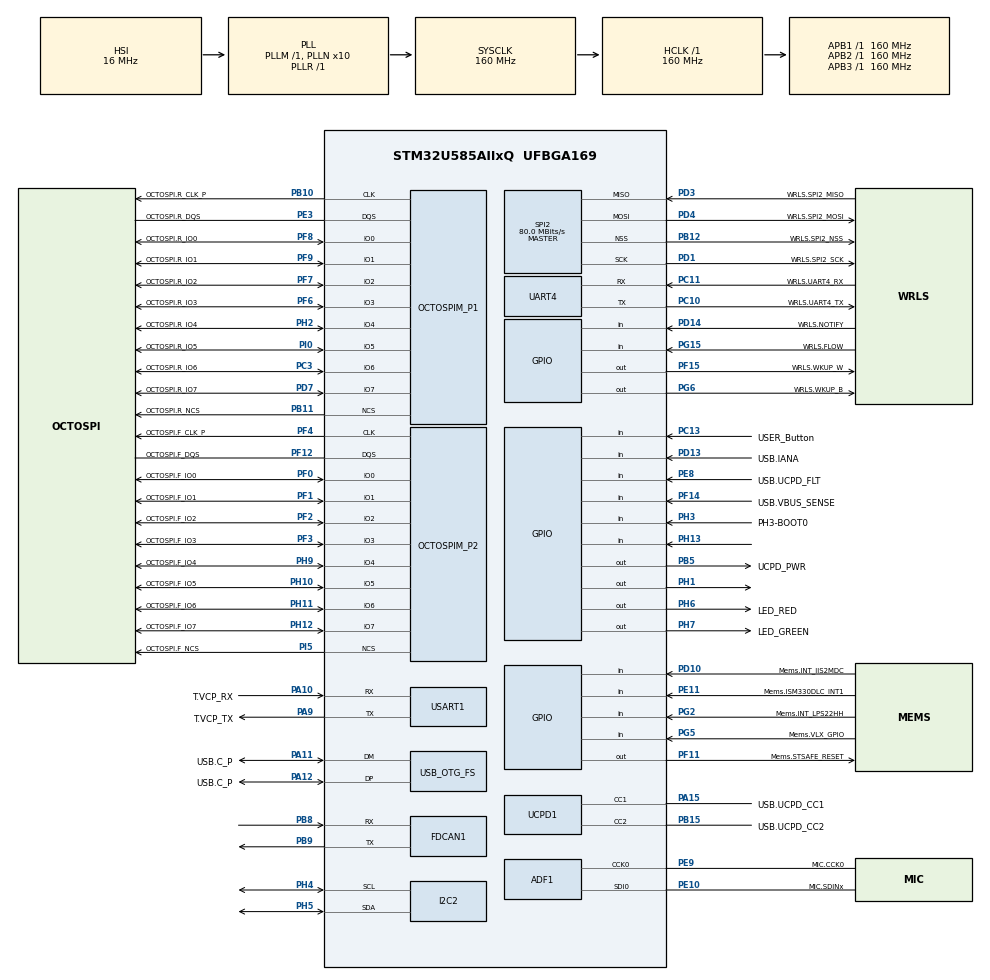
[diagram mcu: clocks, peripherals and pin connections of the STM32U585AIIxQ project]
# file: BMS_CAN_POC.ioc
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CORTEX_M33_NS.userName=CORTEX_M33
FDCAN1.AutoRetransmission=ENABLE
FDCAN1.CalculateBaudRateNominal=500000
FDCAN1.CalculateTimeBitNominal=2000
FDCAN1.CalculateTimeQuantumNominal=12.5
FDCAN1.FrameFormat=FDCAN_FRAME_CLASSIC
FDCAN1.NominalPrescaler=1
FDCAN1.NominalSyncJumpWidth=21
FDCAN1.NominalTimeSeg1=138
FDCAN1.NominalTimeSeg2=21
FDCAN1.StdFiltersNbr=1
I2C2.Timing=0x30909DEC
Mcu.Family=STM32U5
Mcu.Name=STM32U585AIIxQ
Mcu.Package=UFBGA169
NVIC.FDCAN1_IT0_IRQn=true\:0\:0\:false\:false\:true\:true\:true\:true
NVIC.FDCAN1_IT1_IRQn=true\:0\:0\:false\:false\:true\:true\:true\:true
NVIC.PriorityGroup=NVIC_PRIORITYGROUP_4
OCTOSPI1.ChipSelectBoundary=10
OCTOSPI1.ClockPrescaler=2
OCTOSPI1.DelayBlockBypass=HAL_OSPI_DELAY_BLOCK_USED
OCTOSPI1.DelayHoldQuarterCycle=HAL_OSPI_DHQC_ENABLE
OCTOSPI1.DeviceSize=23
OCTOSPI1.MemoryType=HAL_OSPI_MEMTYPE_APMEMORY
OCTOSPI1.Refresh=100
OCTOSPI2.ChipSelectBoundary=0
OCTOSPI2.ChipSelectHighTime=2
OCTOSPI2.ClockPrescaler=4
OCTOSPI2.DelayBlockBypass=HAL_OSPI_DELAY_BLOCK_USED
OCTOSPI2.DelayHoldQuarterCycle=HAL_OSPI_DHQC_ENABLE
OCTOSPI2.DeviceSize=26
OCTOSPI2.FifoThreshold=4
OCTOSPI2.MemoryType=HAL_OSPI_MEMTYPE_MACRONIX
PA10.GPIO_Label=T.VCP_RX
PA10.Mode=Asynchronous
PA10.Signal=USART1_RX
PA11.GPIO_Label=USB.C_P
PA11.Mode=Device_Only
PA11.Signal=USB_OTG_FS_DM
PA12.GPIO_Label=USB.C_P
PA12.Mode=Device_Only
PA12.Signal=USB_OTG_FS_DP
PA13\ (JTMS/SWDIO).GPIO_Label=T.SWDIO
PA13\ (JTMS/SWDIO).Mode=Trace_Asynchronous_SW
PA13\ (JTMS/SWDIO).Signal=DEBUG_JTMS-SWDIO
PA14\ (JTCK/SWCLK).GPIO_Label=T.SWCLK
PA14\ (JTCK/SWCLK).Mode=Trace_Asynchronous_SW
PA14\ (JTCK/SWCLK).Signal=DEBUG_JTCK-SWCLK
PA15\ (JTDI).GPIO_Label=USB.UCPD_CC1
PA15\ (JTDI).Mode=Dual_Role_AllSignals
PA15\ (JTDI).Signal=UCPD1_CC1
PA9.GPIO_Label=T.VCP_TX
PA9.Mode=Asynchronous
PA9.Signal=USART1_TX
PB1.GPIO_Label=MIC.SDIN0
PB1.Signal=MDF1_SDI0
PB10.GPIO_Label=OCTOSPI.R_CLK_P
PB10.Mode=O1_P1_CLK
PB10.Signal=OCTOSPIM_P1_CLK
PB11.GPIO_Label=OCTOSPI.R_NCS
PB11.Mode=OCTOSPI1_Port1_NCS
PB11.Signal=OCTOSPIM_P1_NCS
PB12.GPIO_Label=WRLS.SPI2_NSS
PB12.Mode=NSS_Signal_Hard_Output
PB12.Signal=SPI2_NSS
PB15.GPIO_Label=USB.UCPD_CC2
PB15.Mode=Dual_Role_AllSignals
PB15.Signal=UCPD1_CC2
PB3\ (JTDO/TRACESWO).GPIO_Label=T.SWO
PB3\ (JTDO/TRACESWO).Mode=Trace_Asynchronous_SW
PB3\ (JTDO/TRACESWO).Signal=DEBUG_JTDO-SWO
PB5.GPIO_Label=UCPD_PWR
PB5.Signal=GPIO_Output
PB8.Mode=FDCAN_Activate
PB8.Signal=FDCAN1_RX
PB9.Mode=FDCAN_Activate
PB9.Signal=FDCAN1_TX
PC10.GPIO_Label=WRLS.UART4_TX
PC10.Mode=Asynchronous
PC10.Signal=UART4_TX
PC11.GPIO_Label=WRLS.UART4_RX
PC11.Mode=Asynchronous
PC11.Signal=UART4_RX
PC13.GPIO_Label=USER_Button
PC13.GPIO_PuPd=GPIO_PULLUP
PC13.Signal=GPIO_Input
PC14-OSC32_IN\ (PC14).GPIO_Label=PC14-OSC32_IN
PC14-OSC32_IN\ (PC14).Mode=LSE-External-Oscillator-for-RTC
PC14-OSC32_IN\ (PC14).Signal=RCC_OSC32_IN
PC15-OSC32_OUT\ (PC15).GPIO_Label=PC15-OSC32_OUT
PC15-OSC32_OUT\ (PC15).Mode=LSE-External-Oscillator-for-RTC
PC15-OSC32_OUT\ (PC15).Signal=RCC_OSC32_OUT
PC3.GPIO_Label=OCTOSPI.R_IO6
PC3.Mode=OCTOSPI1_IOH_Port1H
PC3.Signal=OCTOSPIM_P1_IO6
PD1.GPIO_Label=WRLS.SPI2_SCK
PD1.Mode=Full_Duplex_Master
PD1.Signal=SPI2_SCK
PD10.GPIO_Label=Mems.INT_IIS2MDC
PD10.Signal=GPIO_Input
PD13.GPIO_Label=USB.IANA
PD13.Signal=GPIO_Input
PD14.GPIO_Label=WRLS.NOTIFY
PD14.Signal=GPIO_Input
PD3.GPIO_Label=WRLS.SPI2_MISO
PD3.Mode=Full_Duplex_Master
PD3.Signal=SPI2_MISO
PD4.GPIO_Label=WRLS.SPI2_MOSI
PD4.Mode=Full_Duplex_Master
PD4.Signal=SPI2_MOSI
PD7.GPIO_Label=OCTOSPI.R_IO7
PD7.Mode=OCTOSPI1_IOH_Port1H
PD7.Signal=OCTOSPIM_P1_IO7
PE10.GPIO_Label=MIC.SDINx
PE10.Mode=MOD_ADF_CCK
PE10.Signal=ADF1_SDI0
PE11.GPIO_Label=Mems.ISM330DLC_INT1
PE11.Signal=GPIO_Input
PE3.GPIO_Label=OCTOSPI.R_DQS
PE3.Mode=OCTOSPI1_Port1_DQS
PE3.Signal=OCTOSPIM_P1_DQS
PE8.GPIO_Label=USB.UCPD_FLT
PE8.Signal=GPIO_Input
PE9.GPIO_Label=MIC.CCK0
PE9.Mode=MOD_MDF_CCK0
PE9.Signal=ADF1_CCK0
PF0.GPIO_Label=OCTOSPI.F_IO0
PF0.Mode=OCTOSPI2_IOL_Port2L
PF0.Signal=OCTOSPIM_P2_IO0
PF1.GPIO_Label=OCTOSPI.F_IO1
PF1.Mode=OCTOSPI2_IOL_Port2L
PF1.Signal=OCTOSPIM_P2_IO1
PF10.GPIO_Label=MIC.CCK1
PF10.Signal=MDF1_CCK1
PF11.GPIO_Label=Mems.STSAFE_RESET
PF11.Signal=GPIO_Output
PF12.GPIO_Label=OCTOSPI.F_DQS
PF12.Mode=OCTOSPI2_Port2_DQS
PF12.Signal=OCTOSPIM_P2_DQS
PF14.GPIO_Label=USB.VBUS_SENSE
PF14.Signal=GPIO_Input
PF15.GPIO_Label=WRLS.WKUP_W
PF15.Signal=GPIO_Output
PF2.GPIO_Label=OCTOSPI.F_IO2
PF2.Mode=OCTOSPI2_IOL_Port2L
PF2.Signal=OCTOSPIM_P2_IO2
PF3.GPIO_Label=OCTOSPI.F_IO3
PF3.Mode=OCTOSPI2_IOL_Port2L
PF3.Signal=OCTOSPIM_P2_IO3
PF4.GPIO_Label=OCTOSPI.F_CLK_P
PF4.Mode=O2_P2_CLK
PF4.Signal=OCTOSPIM_P2_CLK
PF6.GPIO_Label=OCTOSPI.R_IO3
PF6.Mode=OCTOSPI1_IOL_Port1L
PF6.Signal=OCTOSPIM_P1_IO3
PF7.GPIO_Label=OCTOSPI.R_IO2
PF7.Mode=OCTOSPI1_IOL_Port1L
PF7.Signal=OCTOSPIM_P1_IO2
PF8.GPIO_Label=OCTOSPI.R_IO0
PF8.Mode=OCTOSPI1_IOL_Port1L
PF8.Signal=OCTOSPIM_P1_IO0
PF9.GPIO_Label=OCTOSPI.R_IO1
PF9.Mode=OCTOSPI1_IOL_Port1L
PF9.Signal=OCTOSPIM_P1_IO1
PG15.GPIO_Label=WRLS.FLOW
PG15.Signal=GPIO_Input
PG2.GPIO_Label=Mems.INT_LPS22HH
PG2.Signal=GPIO_Input
PG5.GPIO_Label=Mems.VLX_GPIO
PG5.Signal=GPIO_Input
PG6.GPIO_Label=WRLS.WKUP_B
PG6.Signal=GPIO_Output
PH1-OSC_OUT\ (PH1).Signal=GPIO_Output
PH10.GPIO_Label=OCTOSPI.F_IO5
PH10.Mode=OCTOSPI2_IOH_Port2H
PH10.Signal=OCTOSPIM_P2_IO5
PH11.GPIO_Label=OCTOSPI.F_IO6
PH11.Mode=OCTOSPI2_IOH_Port2H
PH11.Signal=OCTOSPIM_P2_IO6
PH12.GPIO_Label=OCTOSPI.F_IO7
PH12.Mode=OCTOSPI2_IOH_Port2H
PH12.Signal=OCTOSPIM_P2_IO7
PH13.Signal=GPIO_Input
PH2.GPIO_Label=OCTOSPI.R_IO4
PH2.Mode=OCTOSPI1_IOH_Port1H
PH2.Signal=OCTOSPIM_P1_IO4
PH3-BOOT0.GPIO_Label=PH3-BOOT0
PH3-BOOT0.Signal=GPIO_Input
PH4.Mode=I2C
PH4.Signal=I2C2_SCL
PH5.Mode=I2C
PH5.Signal=I2C2_SDA
PH6.GPIO_Label=LED_RED
PH6.Signal=GPIO_Output
PH7.GPIO_Label=LED_GREEN
PH7.Signal=GPIO_Output
PH9.GPIO_Label=OCTOSPI.F_IO4
PH9.Mode=OCTOSPI2_IOH_Port2H
PH9.Signal=OCTOSPIM_P2_IO4
PI0.GPIO_Label=OCTOSPI.R_IO5
PI0.Mode=OCTOSPI1_IOH_Port1H
PI0.Signal=OCTOSPIM_P1_IO5
PI5.GPIO_Label=OCTOSPI.F_NCS
PI5.Mode=OCTOSPI2_Port2_NCS
PI5.Signal=OCTOSPIM_P2_NCS
PWR.PowerMode=PWR_SMPS_SUPPLY
ProjectManager.HeapSize=0x200
ProjectManager.StackSize=0x400
ProjectManager.TargetToolchain=CMake
RCC.ADCFreq_Value=16000000
RCC.AHBFreq_Value=160000000
RCC.APB1Freq_Value=160000000
RCC.APB1TimFreq_Value=160000000
RCC.APB2Freq_Value=160000000
RCC.APB2TimFreq_Value=160000000
RCC.APB3Freq_Value=160000000
RCC.CortexFreq_Value=160000000
RCC.DACCLockSelectionVirtual=RCC_DAC1CLKSOURCE_LSI
RCC.EPOD_VALUE=16000000
RCC.HCLKFreq_Value=160000000
RCC.HSE_VALUE=16000000
RCC.HSI48_VALUE=48000000
RCC.HSI_VALUE=16000000
RCC.LSIDIV_VALUE=32000
RCC.MSI_VALUE=4000000
RCC.PLL1R=1
RCC.PLLFRACN=0
RCC.PLLN=10
RCC.PLLSourceVirtual=RCC_PLLSOURCE_HSI
RCC.RTCClockSelection=RCC_RTCCLKSOURCE_LSE
RCC.SYSCLKFreq_VALUE=160000000
RCC.SYSCLKSource=RCC_SYSCLKSOURCE_PLLCLK
RCC.USBFreq_Value=48000000
RCC.VCOOutputFreq_Value=160000000
SPI2.BaudRatePrescaler=SPI_BAUDRATEPRESCALER_2
SPI2.CalculateBaudRate=80.0 MBits/s
SPI2.Direction=SPI_DIRECTION_2LINES
SPI2.Mode=SPI_MODE_MASTER
SPI2.VirtualNSS=VM_NSSHARD
SPI2.VirtualType=VM_MASTER
USART1.VirtualMode-Asynchronous=VM_ASYNC
USB_OTG_FS.VirtualMode=Device_Only
VP_ICACHE_VS_ICACHE.Mode=DirectMappedCache
VP_LPBAMQUEUE_VS_QUEUE.Mode=QUEUEMODE
VP_LPBAM_VS_SIG1.Mode=SmartRun
VP_LPBAM_VS_SIG4.Mode=LPDMA1
VP_MEMORYMAP_VS_MEMORYMAP.Mode=CurAppReg
VP_OCTOSPI1_VS_octo.Mode=octo_mode
VP_OCTOSPI2_VS_octo.Mode=octo_mode
VP_PWR_VS_DBSignals.Mode=DisableDeadBatterySignals
VP_PWR_VS_LPOM.Mode=PowerOptimisation
VP_PWR_VS_SECSignals.Mode=Security/Privilege
VP_RTC_VS_RTC_Activate.Mode=RTC_Enabled
VP_RTC_VS_RTC_Calendar.Mode=RTC_Calendar
board=B-U585I-IOT02A

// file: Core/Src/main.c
/* USER CODE BEGIN Header */
/**
 ******************************************************************************
 * @file           : main.c
 * @brief          : Main program body
 ******************************************************************************
 * @attention
 *
 * Copyright (c) 2026 STMicroelectronics.
 * All rights reserved.
 *
 * This software is licensed under terms that can be found in the LICENSE file
 * in the root directory of this software component.
 * If no LICENSE file comes with this software, it is provided AS-IS.
 *
 ******************************************************************************
 */
#include "can.h"
#include "logger.h"
#include "stm32u585xx.h"
#include "stm32u5xx.h"
#include "stm32u5xx_hal.h"
#include "utils.h"
#include <stddef.h>
#include <stdint.h>
#include <stdio.h>
#include <stdlib.h>
#include <string.h>
#include <time.h>

/* USER CODE END Header */
#include "main.h"

MDF_HandleTypeDef AdfHandle0;
MDF_FilterConfigTypeDef AdfFilterConfig0;

FDCAN_HandleTypeDef hfdcan1;

I2C_HandleTypeDef hi2c2;

OSPI_HandleTypeDef hospi1;
OSPI_HandleTypeDef hospi2;

RTC_HandleTypeDef hrtc;

SPI_HandleTypeDef hspi2;

UART_HandleTypeDef huart4;
UART_HandleTypeDef huart1;

PCD_HandleTypeDef hpcd_USB_OTG_FS;

/* USER CODE BEGIN PV */
RTC_TimeTypeDef sTime = {0};
RTC_DateTypeDef sDate = {0};
/* USER CODE END PV */

void SystemClock_Config(void);
static void SystemPower_Config(void);
static void MX_GPIO_Init(void);
static void MX_ADF1_Init(void);
static void MX_I2C2_Init(void);
static void MX_ICACHE_Init(void);
static void MX_OCTOSPI1_Init(void);
static void MX_OCTOSPI2_Init(void);
static void MX_SPI2_Init(void);
static void MX_UART4_Init(void);
static void MX_USART1_UART_Init(void);
static void MX_UCPD1_Init(void);
static void MX_USB_OTG_FS_PCD_Init(void);
static void MX_FDCAN1_Init(void);
static void MX_RTC_Init(void);

/* USER CODE BEGIN 0 */

int _gettimeofday(struct timeval *tv, void *tzvp) {
  // Use system tick count (e.g., HAL_GetTick() or SysTick)
  uint32_t ticks = HAL_GetTick(); // or your system's uptime function
  tv->tv_sec = ticks / 1000;
  tv->tv_usec = (ticks % 1000) * 1000;
  return 0; // Success
}

/* USER CODE END 0 */

int main(void) {

  /* MCU Configuration--------------------------------------------------------*/

  /* Reset of all peripherals, Initializes the Flash interface and the Systick.
   */
  HAL_Init();

  /* Configure the System Power */
  SystemPower_Config();

  /* Configure the system clock */
  SystemClock_Config();

  /* Initialize all configured peripherals */
  MX_GPIO_Init();
  MX_ADF1_Init();
  MX_I2C2_Init();
  MX_ICACHE_Init();
  MX_OCTOSPI1_Init();
  MX_OCTOSPI2_Init();
  MX_SPI2_Init();
  MX_UART4_Init();
  MX_USART1_UART_Init();
  MX_UCPD1_Init();
  MX_USB_OTG_FS_PCD_Init();
  MX_FDCAN1_Init();
  MX_RTC_Init();
  /* USER CODE BEGIN 2 */
  // STart FDCAN1
  HAL_StatusTypeDef status;
  FDCAN_FilterTypeDef sFilterConfig;
  sFilterConfig.IdType = FDCAN_STANDARD_ID;
  sFilterConfig.FilterIndex = 0;
  sFilterConfig.FilterType = FDCAN_FILTER_DUAL;
  sFilterConfig.FilterConfig = FDCAN_FILTER_TO_RXFIFO0;
  sFilterConfig.FilterID1 = 0x100;
  sFilterConfig.FilterID2 = 0x200;

  if ((status = HAL_FDCAN_ConfigFilter(&hfdcan1, &sFilterConfig)) != HAL_OK) {
    LOG(FAULT, "Can't configure FDCAN filter : HAL_status=%d.\r\n", status);
  }

  if ((status = HAL_FDCAN_Start(&hfdcan1)) != HAL_OK) {
    LOG(FAULT, "Can't start FDCAN : HAL_status=%d.\r\n", status);
  }
  if ((status = HAL_FDCAN_ActivateNotification(
           &hfdcan1, FDCAN_IT_RX_FIFO0_NEW_MESSAGE, 0)) != HAL_OK) {
    LOG(FAULT, "Can't activate notifications for FDCAN : HAL_status=%d.\r\n",
        status);
  }
  /* USER CODE END 2 */

  /* Infinite loop */
  /* USER CODE BEGIN WHILE */
  LOG(INFO, "Hey I'm the BMS board !!!");
  srand(time(NULL));
  while (1) {
    /* USER CODE END WHILE */

    /* USER CODE BEGIN 3 */

    GPIO_PinState pinState;
    if ((pinState = HAL_GPIO_ReadPin(GPIOC, GPIO_PIN_13)) == GPIO_PIN_SET) {
      LOG(INFO, "User button has been pressed let's send a CAN message !");
      uint8_t TxData[1];
      TxData[0] = (rand() % 5) + 1;

      if (rand() % 2) {
        sendCANMessage(TxData, ALERT_WARNING);
      } else {
        sendCANMessage(TxData, ALERT_CRITICAL);
      }
    }

    HAL_Delay(200);
  }
  /* USER CODE END 3 */
}

void SystemClock_Config(void) {
  RCC_OscInitTypeDef RCC_OscInitStruct = {0};
  RCC_ClkInitTypeDef RCC_ClkInitStruct = {0};

  /** Configure the main internal regulator output voltage
   */
  if (HAL_PWREx_ControlVoltageScaling(PWR_REGULATOR_VOLTAGE_SCALE1) != HAL_OK) {
    Error_Handler();
  }

  /** Configure LSE Drive Capability
   */
  HAL_PWR_EnableBkUpAccess();
  __HAL_RCC_LSEDRIVE_CONFIG(RCC_LSEDRIVE_LOW);

  /** Initializes the CPU, AHB and APB buses clocks
   */
  RCC_OscInitStruct.OscillatorType = RCC_OSCILLATORTYPE_HSI48 |
                                     RCC_OSCILLATORTYPE_HSI |
                                     RCC_OSCILLATORTYPE_LSE;
  RCC_OscInitStruct.LSEState = RCC_LSE_ON_RTC_ONLY;
  RCC_OscInitStruct.HSIState = RCC_HSI_ON;
  RCC_OscInitStruct.HSI48State = RCC_HSI48_ON;
  RCC_OscInitStruct.HSICalibrationValue = RCC_HSICALIBRATION_DEFAULT;
  RCC_OscInitStruct.PLL.PLLState = RCC_PLL_ON;
  RCC_OscInitStruct.PLL.PLLSource = RCC_PLLSOURCE_HSI;
  RCC_OscInitStruct.PLL.PLLMBOOST = RCC_PLLMBOOST_DIV1;
  RCC_OscInitStruct.PLL.PLLM = 1;
  RCC_OscInitStruct.PLL.PLLN = 10;
  RCC_OscInitStruct.PLL.PLLP = 2;
  RCC_OscInitStruct.PLL.PLLQ = 2;
  RCC_OscInitStruct.PLL.PLLR = 1;
  RCC_OscInitStruct.PLL.PLLRGE = RCC_PLLVCIRANGE_1;
  RCC_OscInitStruct.PLL.PLLFRACN = 0;
  if (HAL_RCC_OscConfig(&RCC_OscInitStruct) != HAL_OK) {
    Error_Handler();
  }

  /** Initializes the CPU, AHB and APB buses clocks
   */
  RCC_ClkInitStruct.ClockType = RCC_CLOCKTYPE_HCLK | RCC_CLOCKTYPE_SYSCLK |
                                RCC_CLOCKTYPE_PCLK1 | RCC_CLOCKTYPE_PCLK2 |
                                RCC_CLOCKTYPE_PCLK3;
  RCC_ClkInitStruct.SYSCLKSource = RCC_SYSCLKSOURCE_PLLCLK;
  RCC_ClkInitStruct.AHBCLKDivider = RCC_SYSCLK_DIV1;
  RCC_ClkInitStruct.APB1CLKDivider = RCC_HCLK_DIV1;
  RCC_ClkInitStruct.APB2CLKDivider = RCC_HCLK_DIV1;
  RCC_ClkInitStruct.APB3CLKDivider = RCC_HCLK_DIV1;

  if (HAL_RCC_ClockConfig(&RCC_ClkInitStruct, FLASH_LATENCY_4) != HAL_OK) {
    Error_Handler();
  }
}

/**
 * @brief Power Configuration
 * @retval None
 */
static void SystemPower_Config(void) {
  HAL_PWREx_EnableVddIO2();

  /*
   * Switch to SMPS regulator instead of LDO
   */
  if (HAL_PWREx_ConfigSupply(PWR_SMPS_SUPPLY) != HAL_OK) {
    Error_Handler();
  }
}

static void MX_ADF1_Init(void) {

  /**
    AdfHandle0 structure initialization and HAL_MDF_Init function call
  */
  AdfHandle0.Instance = ADF1_Filter0;
  AdfHandle0.Init.CommonParam.ProcClockDivider = 1;
  AdfHandle0.Init.CommonParam.OutputClock.Activation = DISABLE;
  AdfHandle0.Init.SerialInterface.Activation = ENABLE;
  AdfHandle0.Init.SerialInterface.Mode = MDF_SITF_LF_MASTER_SPI_MODE;
  AdfHandle0.Init.SerialInterface.ClockSource = MDF_SITF_CCK0_SOURCE;
  AdfHandle0.Init.SerialInterface.Threshold = 4;
  AdfHandle0.Init.FilterBistream = MDF_BITSTREAM0_FALLING;
  if (HAL_MDF_Init(&AdfHandle0) != HAL_OK) {
    Error_Handler();
  }

  /**
    AdfFilterConfig0 structure initialization

    WARNING : only structure is filled, no specific init function call for
    filter
  */
  AdfFilterConfig0.DataSource = MDF_DATA_SOURCE_BSMX;
  AdfFilterConfig0.Delay = 0;
  AdfFilterConfig0.CicMode = MDF_ONE_FILTER_SINC4;
  AdfFilterConfig0.DecimationRatio = 2;
  AdfFilterConfig0.Gain = 0;
  AdfFilterConfig0.ReshapeFilter.Activation = DISABLE;
  AdfFilterConfig0.HighPassFilter.Activation = DISABLE;
  AdfFilterConfig0.SoundActivity.Activation = DISABLE;
  AdfFilterConfig0.AcquisitionMode = MDF_MODE_ASYNC_CONT;
  AdfFilterConfig0.FifoThreshold = MDF_FIFO_THRESHOLD_NOT_EMPTY;
  AdfFilterConfig0.DiscardSamples = 0;
}

static void MX_FDCAN1_Init(void) {

  hfdcan1.Instance = FDCAN1;
  hfdcan1.Init.ClockDivider = FDCAN_CLOCK_DIV1;
  hfdcan1.Init.FrameFormat = FDCAN_FRAME_CLASSIC;
  hfdcan1.Init.Mode = FDCAN_MODE_NORMAL;
  hfdcan1.Init.AutoRetransmission = ENABLE;
  hfdcan1.Init.TransmitPause = DISABLE;
  hfdcan1.Init.ProtocolException = DISABLE;
  hfdcan1.Init.NominalPrescaler = 1;
  hfdcan1.Init.NominalSyncJumpWidth = 21;
  hfdcan1.Init.NominalTimeSeg1 = 138;
  hfdcan1.Init.NominalTimeSeg2 = 21;
  hfdcan1.Init.DataPrescaler = 1;
  hfdcan1.Init.DataSyncJumpWidth = 1;
  hfdcan1.Init.DataTimeSeg1 = 1;
  hfdcan1.Init.DataTimeSeg2 = 1;
  hfdcan1.Init.StdFiltersNbr = 1;
  hfdcan1.Init.ExtFiltersNbr = 0;
  hfdcan1.Init.TxFifoQueueMode = FDCAN_TX_FIFO_OPERATION;
  if (HAL_FDCAN_Init(&hfdcan1) != HAL_OK) {
    Error_Handler();
  }
}

static void MX_I2C2_Init(void) {

  hi2c2.Instance = I2C2;
  hi2c2.Init.Timing = 0x30909DEC;
  hi2c2.Init.OwnAddress1 = 0;
  hi2c2.Init.AddressingMode = I2C_ADDRESSINGMODE_7BIT;
  hi2c2.Init.DualAddressMode = I2C_DUALADDRESS_DISABLE;
  hi2c2.Init.OwnAddress2 = 0;
  hi2c2.Init.OwnAddress2Masks = I2C_OA2_NOMASK;
  hi2c2.Init.GeneralCallMode = I2C_GENERALCALL_DISABLE;
  hi2c2.Init.NoStretchMode = I2C_NOSTRETCH_DISABLE;
  if (HAL_I2C_Init(&hi2c2) != HAL_OK) {
    Error_Handler();
  }

  /** Configure Analogue filter
   */
  if (HAL_I2CEx_ConfigAnalogFilter(&hi2c2, I2C_ANALOGFILTER_ENABLE) != HAL_OK) {
    Error_Handler();
  }

  /** Configure Digital filter
   */
  if (HAL_I2CEx_ConfigDigitalFilter(&hi2c2, 0) != HAL_OK) {
    Error_Handler();
  }
}

static void MX_ICACHE_Init(void) {

  /** Enable instruction cache in 1-way (direct mapped cache)
   */
  if (HAL_ICACHE_ConfigAssociativityMode(ICACHE_1WAY) != HAL_OK) {
    Error_Handler();
  }
  if (HAL_ICACHE_Enable() != HAL_OK) {
    Error_Handler();
  }
}

static void MX_OCTOSPI1_Init(void) {

  OSPIM_CfgTypeDef sOspiManagerCfg = {0};
  HAL_OSPI_DLYB_CfgTypeDef HAL_OSPI_DLYB_Cfg_Struct = {0};

  /* OCTOSPI1 parameter configuration*/
  hospi1.Instance = OCTOSPI1;
  hospi1.Init.FifoThreshold = 1;
  hospi1.Init.DualQuad = HAL_OSPI_DUALQUAD_DISABLE;
  hospi1.Init.MemoryType = HAL_OSPI_MEMTYPE_APMEMORY;
  hospi1.Init.DeviceSize = 23;
  hospi1.Init.ChipSelectHighTime = 1;
  hospi1.Init.FreeRunningClock = HAL_OSPI_FREERUNCLK_DISABLE;
  hospi1.Init.ClockMode = HAL_OSPI_CLOCK_MODE_0;
  hospi1.Init.WrapSize = HAL_OSPI_WRAP_NOT_SUPPORTED;
  hospi1.Init.ClockPrescaler = 2;
  hospi1.Init.SampleShifting = HAL_OSPI_SAMPLE_SHIFTING_NONE;
  hospi1.Init.DelayHoldQuarterCycle = HAL_OSPI_DHQC_ENABLE;
  hospi1.Init.ChipSelectBoundary = 10;
  hospi1.Init.DelayBlockBypass = HAL_OSPI_DELAY_BLOCK_USED;
  hospi1.Init.MaxTran = 0;
  hospi1.Init.Refresh = 100;
  if (HAL_OSPI_Init(&hospi1) != HAL_OK) {
    Error_Handler();
  }
  sOspiManagerCfg.ClkPort = 1;
  sOspiManagerCfg.DQSPort = 1;
  sOspiManagerCfg.NCSPort = 1;
  sOspiManagerCfg.IOLowPort = HAL_OSPIM_IOPORT_1_LOW;
  sOspiManagerCfg.IOHighPort = HAL_OSPIM_IOPORT_1_HIGH;
  if (HAL_OSPIM_Config(&hospi1, &sOspiManagerCfg,
                       HAL_OSPI_TIMEOUT_DEFAULT_VALUE) != HAL_OK) {
    Error_Handler();
  }
  HAL_OSPI_DLYB_Cfg_Struct.Units = 0;
  HAL_OSPI_DLYB_Cfg_Struct.PhaseSel = 0;
  if (HAL_OSPI_DLYB_SetConfig(&hospi1, &HAL_OSPI_DLYB_Cfg_Struct) != HAL_OK) {
    Error_Handler();
  }
}

static void MX_OCTOSPI2_Init(void) {

  OSPIM_CfgTypeDef sOspiManagerCfg = {0};
  HAL_OSPI_DLYB_CfgTypeDef HAL_OSPI_DLYB_Cfg_Struct = {0};

  /* OCTOSPI2 parameter configuration*/
  hospi2.Instance = OCTOSPI2;
  hospi2.Init.FifoThreshold = 4;
  hospi2.Init.DualQuad = HAL_OSPI_DUALQUAD_DISABLE;
  hospi2.Init.MemoryType = HAL_OSPI_MEMTYPE_MACRONIX;
  hospi2.Init.DeviceSize = 26;
  hospi2.Init.ChipSelectHighTime = 2;
  hospi2.Init.FreeRunningClock = HAL_OSPI_FREERUNCLK_DISABLE;
  hospi2.Init.ClockMode = HAL_OSPI_CLOCK_MODE_0;
  hospi2.Init.WrapSize = HAL_OSPI_WRAP_NOT_SUPPORTED;
  hospi2.Init.ClockPrescaler = 4;
  hospi2.Init.SampleShifting = HAL_OSPI_SAMPLE_SHIFTING_NONE;
  hospi2.Init.DelayHoldQuarterCycle = HAL_OSPI_DHQC_ENABLE;
  hospi2.Init.ChipSelectBoundary = 0;
  hospi2.Init.DelayBlockBypass = HAL_OSPI_DELAY_BLOCK_USED;
  hospi2.Init.MaxTran = 0;
  hospi2.Init.Refresh = 0;
  if (HAL_OSPI_Init(&hospi2) != HAL_OK) {
    Error_Handler();
  }
  sOspiManagerCfg.ClkPort = 2;
  sOspiManagerCfg.DQSPort = 2;
  sOspiManagerCfg.NCSPort = 2;
  sOspiManagerCfg.IOLowPort = HAL_OSPIM_IOPORT_2_LOW;
  sOspiManagerCfg.IOHighPort = HAL_OSPIM_IOPORT_2_HIGH;
  if (HAL_OSPIM_Config(&hospi2, &sOspiManagerCfg,
                       HAL_OSPI_TIMEOUT_DEFAULT_VALUE) != HAL_OK) {
    Error_Handler();
  }
  HAL_OSPI_DLYB_Cfg_Struct.Units = 0;
  HAL_OSPI_DLYB_Cfg_Struct.PhaseSel = 0;
  if (HAL_OSPI_DLYB_SetConfig(&hospi2, &HAL_OSPI_DLYB_Cfg_Struct) != HAL_OK) {
    Error_Handler();
  }
}

static void MX_RTC_Init(void) {

  RTC_PrivilegeStateTypeDef privilegeState = {0};
  RTC_TimeTypeDef sTime = {0};
  RTC_DateTypeDef sDate = {0};

  /** Initialize RTC Only
   */
  hrtc.Instance = RTC;
  hrtc.Init.HourFormat = RTC_HOURFORMAT_24;
  hrtc.Init.AsynchPrediv = 127;
  hrtc.Init.SynchPrediv = 255;
  hrtc.Init.OutPut = RTC_OUTPUT_DISABLE;
  hrtc.Init.OutPutRemap = RTC_OUTPUT_REMAP_NONE;
  hrtc.Init.OutPutPolarity = RTC_OUTPUT_POLARITY_HIGH;
  hrtc.Init.OutPutType = RTC_OUTPUT_TYPE_OPENDRAIN;
  hrtc.Init.OutPutPullUp = RTC_OUTPUT_PULLUP_NONE;
  hrtc.Init.BinMode = RTC_BINARY_NONE;
  if (HAL_RTC_Init(&hrtc) != HAL_OK) {
    Error_Handler();
  }
  privilegeState.rtcPrivilegeFull = RTC_PRIVILEGE_FULL_NO;
  privilegeState.backupRegisterPrivZone = RTC_PRIVILEGE_BKUP_ZONE_NONE;
  privilegeState.backupRegisterStartZone2 = RTC_BKP_DR0;
  privilegeState.backupRegisterStartZone3 = RTC_BKP_DR0;
  if (HAL_RTCEx_PrivilegeModeSet(&hrtc, &privilegeState) != HAL_OK) {
    Error_Handler();
  }

  /** Initialize RTC and set the Time and Date
   */
  sTime.Hours = 0x0;
  sTime.Minutes = 0x0;
  sTime.Seconds = 0x0;
  sTime.DayLightSaving = RTC_DAYLIGHTSAVING_NONE;
  sTime.StoreOperation = RTC_STOREOPERATION_RESET;
  if (HAL_RTC_SetTime(&hrtc, &sTime, RTC_FORMAT_BCD) != HAL_OK) {
    Error_Handler();
  }
  sDate.WeekDay = RTC_WEEKDAY_MONDAY;
  sDate.Month = RTC_MONTH_JANUARY;
  sDate.Date = 0x1;
  sDate.Year = 0x0;

  if (HAL_RTC_SetDate(&hrtc, &sDate, RTC_FORMAT_BCD) != HAL_OK) {
    Error_Handler();
  }
}

static void MX_SPI2_Init(void) {

  SPI_AutonomousModeConfTypeDef HAL_SPI_AutonomousMode_Cfg_Struct = {0};

  /* SPI2 parameter configuration*/
  hspi2.Instance = SPI2;
  hspi2.Init.Mode = SPI_MODE_MASTER;
  hspi2.Init.Direction = SPI_DIRECTION_2LINES;
  hspi2.Init.DataSize = SPI_DATASIZE_4BIT;
  hspi2.Init.CLKPolarity = SPI_POLARITY_LOW;
  hspi2.Init.CLKPhase = SPI_PHASE_1EDGE;
  hspi2.Init.NSS = SPI_NSS_HARD_OUTPUT;
  hspi2.Init.BaudRatePrescaler = SPI_BAUDRATEPRESCALER_2;
  hspi2.Init.FirstBit = SPI_FIRSTBIT_MSB;
  hspi2.Init.TIMode = SPI_TIMODE_DISABLE;
  hspi2.Init.CRCCalculation = SPI_CRCCALCULATION_DISABLE;
  hspi2.Init.CRCPolynomial = 0x7;
  hspi2.Init.NSSPMode = SPI_NSS_PULSE_ENABLE;
  hspi2.Init.NSSPolarity = SPI_NSS_POLARITY_LOW;
  hspi2.Init.FifoThreshold = SPI_FIFO_THRESHOLD_01DATA;
  hspi2.Init.MasterSSIdleness = SPI_MASTER_SS_IDLENESS_00CYCLE;
  hspi2.Init.MasterInterDataIdleness = SPI_MASTER_INTERDATA_IDLENESS_00CYCLE;
  hspi2.Init.MasterReceiverAutoSusp = SPI_MASTER_RX_AUTOSUSP_DISABLE;
  hspi2.Init.MasterKeepIOState = SPI_MASTER_KEEP_IO_STATE_DISABLE;
  hspi2.Init.IOSwap = SPI_IO_SWAP_DISABLE;
  hspi2.Init.ReadyMasterManagement = SPI_RDY_MASTER_MANAGEMENT_INTERNALLY;
  hspi2.Init.ReadyPolarity = SPI_RDY_POLARITY_HIGH;
  if (HAL_SPI_Init(&hspi2) != HAL_OK) {
    Error_Handler();
  }
  HAL_SPI_AutonomousMode_Cfg_Struct.TriggerState = SPI_AUTO_MODE_DISABLE;
  HAL_SPI_AutonomousMode_Cfg_Struct.TriggerSelection =
      SPI_GRP1_GPDMA_CH0_TCF_TRG;
  HAL_SPI_AutonomousMode_Cfg_Struct.TriggerPolarity = SPI_TRIG_POLARITY_RISING;
  if (HAL_SPIEx_SetConfigAutonomousMode(
          &hspi2, &HAL_SPI_AutonomousMode_Cfg_Struct) != HAL_OK) {
    Error_Handler();
  }
}

static void MX_UART4_Init(void) {

  huart4.Instance = UART4;
  huart4.Init.BaudRate = 115200;
  huart4.Init.WordLength = UART_WORDLENGTH_8B;
  huart4.Init.StopBits = UART_STOPBITS_1;
  huart4.Init.Parity = UART_PARITY_NONE;
  huart4.Init.Mode = UART_MODE_TX_RX;
  huart4.Init.HwFlowCtl = UART_HWCONTROL_NONE;
  huart4.Init.OverSampling = UART_OVERSAMPLING_16;
  huart4.Init.OneBitSampling = UART_ONE_BIT_SAMPLE_DISABLE;
  huart4.Init.ClockPrescaler = UART_PRESCALER_DIV1;
  huart4.AdvancedInit.AdvFeatureInit = UART_ADVFEATURE_NO_INIT;
  if (HAL_UART_Init(&huart4) != HAL_OK) {
    Error_Handler();
  }
  if (HAL_UARTEx_SetTxFifoThreshold(&huart4, UART_TXFIFO_THRESHOLD_1_8) !=
      HAL_OK) {
    Error_Handler();
  }
  if (HAL_UARTEx_SetRxFifoThreshold(&huart4, UART_RXFIFO_THRESHOLD_1_8) !=
      HAL_OK) {
    Error_Handler();
  }
  if (HAL_UARTEx_DisableFifoMode(&huart4) != HAL_OK) {
    Error_Handler();
  }
}

static void MX_USART1_UART_Init(void) {

  huart1.Instance = USART1;
  huart1.Init.BaudRate = 115200;
  huart1.Init.WordLength = UART_WORDLENGTH_8B;
  huart1.Init.StopBits = UART_STOPBITS_1;
  huart1.Init.Parity = UART_PARITY_NONE;
  huart1.Init.Mode = UART_MODE_TX_RX;
  huart1.Init.HwFlowCtl = UART_HWCONTROL_NONE;
  huart1.Init.OverSampling = UART_OVERSAMPLING_16;
  huart1.Init.OneBitSampling = UART_ONE_BIT_SAMPLE_DISABLE;
  huart1.Init.ClockPrescaler = UART_PRESCALER_DIV1;
  huart1.AdvancedInit.AdvFeatureInit = UART_ADVFEATURE_NO_INIT;
  if (HAL_UART_Init(&huart1) != HAL_OK) {
    Error_Handler();
  }
  if (HAL_UARTEx_SetTxFifoThreshold(&huart1, UART_TXFIFO_THRESHOLD_1_8) !=
      HAL_OK) {
    Error_Handler();
  }
  if (HAL_UARTEx_SetRxFifoThreshold(&huart1, UART_RXFIFO_THRESHOLD_1_8) !=
      HAL_OK) {
    Error_Handler();
  }
  if (HAL_UARTEx_DisableFifoMode(&huart1) != HAL_OK) {
    Error_Handler();
  }
}

static void MX_UCPD1_Init(void) {

  LL_GPIO_InitTypeDef GPIO_InitStruct = {0};

  /* Peripheral clock enable */
  LL_APB1_GRP2_EnableClock(LL_APB1_GRP2_PERIPH_UCPD1);

  LL_AHB2_GRP1_EnableClock(LL_AHB2_GRP1_PERIPH_GPIOA);
  LL_AHB2_GRP1_EnableClock(LL_AHB2_GRP1_PERIPH_GPIOB);
  /**UCPD1 GPIO Configuration
  PA15 (JTDI)   ------> UCPD1_CC1
  PB15   ------> UCPD1_CC2
  */
  GPIO_InitStruct.Pin = LL_GPIO_PIN_15;
  GPIO_InitStruct.Mode = LL_GPIO_MODE_ANALOG;
  GPIO_InitStruct.Pull = LL_GPIO_PULL_NO;
  LL_GPIO_Init(GPIOA, &GPIO_InitStruct);

  GPIO_InitStruct.Pin = LL_GPIO_PIN_15;
  GPIO_InitStruct.Mode = LL_GPIO_MODE_ANALOG;
  GPIO_InitStruct.Pull = LL_GPIO_PULL_NO;
  LL_GPIO_Init(GPIOB, &GPIO_InitStruct);

}

static void MX_USB_OTG_FS_PCD_Init(void) {

  hpcd_USB_OTG_FS.Instance = USB_OTG_FS;
  hpcd_USB_OTG_FS.Init.dev_endpoints = 6;
  hpcd_USB_OTG_FS.Init.speed = PCD_SPEED_FULL;
  hpcd_USB_OTG_FS.Init.phy_itface = PCD_PHY_EMBEDDED;
  hpcd_USB_OTG_FS.Init.Sof_enable = DISABLE;
  hpcd_USB_OTG_FS.Init.low_power_enable = DISABLE;
  hpcd_USB_OTG_FS.Init.lpm_enable = DISABLE;
  hpcd_USB_OTG_FS.Init.battery_charging_enable = DISABLE;
  hpcd_USB_OTG_FS.Init.use_dedicated_ep1 = DISABLE;
  hpcd_USB_OTG_FS.Init.vbus_sensing_enable = DISABLE;
  hpcd_USB_OTG_FS.Init.dma_enable = DISABLE;
  if (HAL_PCD_Init(&hpcd_USB_OTG_FS) != HAL_OK) {
    Error_Handler();
  }
}

static void MX_GPIO_Init(void) {
  GPIO_InitTypeDef GPIO_InitStruct = {0};

  /* GPIO Ports Clock Enable */
  __HAL_RCC_GPIOG_CLK_ENABLE();
  __HAL_RCC_GPIOC_CLK_ENABLE();
  __HAL_RCC_GPIOA_CLK_ENABLE();
  __HAL_RCC_GPIOI_CLK_ENABLE();
  __HAL_RCC_GPIOH_CLK_ENABLE();
  __HAL_RCC_GPIOB_CLK_ENABLE();
  __HAL_RCC_GPIOD_CLK_ENABLE();
  __HAL_RCC_GPIOE_CLK_ENABLE();
  __HAL_RCC_GPIOF_CLK_ENABLE();

  /*Configure GPIO pin Output Level */
  HAL_GPIO_WritePin(UCPD_PWR_GPIO_Port, UCPD_PWR_Pin, GPIO_PIN_RESET);

  /*Configure GPIO pin Output Level */
  HAL_GPIO_WritePin(GPIOH, LED_RED_Pin | LED_GREEN_Pin | GPIO_PIN_1,
                    GPIO_PIN_RESET);

  /*Configure GPIO pin Output Level */
  HAL_GPIO_WritePin(WRLS_WKUP_B_GPIO_Port, WRLS_WKUP_B_Pin, GPIO_PIN_RESET);

  /*Configure GPIO pin Output Level */
  HAL_GPIO_WritePin(GPIOF, Mems_STSAFE_RESET_Pin | WRLS_WKUP_W_Pin,
                    GPIO_PIN_RESET);

  /*Configure GPIO pins : WRLS_FLOW_Pin Mems_VLX_GPIO_Pin Mems_INT_LPS22HH_Pin
   */
  GPIO_InitStruct.Pin =
      WRLS_FLOW_Pin | Mems_VLX_GPIO_Pin | Mems_INT_LPS22HH_Pin;
  GPIO_InitStruct.Mode = GPIO_MODE_INPUT;
  GPIO_InitStruct.Pull = GPIO_NOPULL;
  HAL_GPIO_Init(GPIOG, &GPIO_InitStruct);

  /*Configure GPIO pins : PH3_BOOT0_Pin PH13 */
  GPIO_InitStruct.Pin = PH3_BOOT0_Pin | GPIO_PIN_13;
  GPIO_InitStruct.Mode = GPIO_MODE_INPUT;
  GPIO_InitStruct.Pull = GPIO_NOPULL;
  HAL_GPIO_Init(GPIOH, &GPIO_InitStruct);

  /*Configure GPIO pin : UCPD_PWR_Pin */
  GPIO_InitStruct.Pin = UCPD_PWR_Pin;
  GPIO_InitStruct.Mode = GPIO_MODE_OUTPUT_PP;
  GPIO_InitStruct.Pull = GPIO_NOPULL;
  GPIO_InitStruct.Speed = GPIO_SPEED_FREQ_LOW;
  HAL_GPIO_Init(UCPD_PWR_GPIO_Port, &GPIO_InitStruct);

  /*Configure GPIO pin : USER_Button_Pin */
  GPIO_InitStruct.Pin = USER_Button_Pin;
  GPIO_InitStruct.Mode = GPIO_MODE_INPUT;
  GPIO_InitStruct.Pull = GPIO_PULLUP;
  HAL_GPIO_Init(USER_Button_GPIO_Port, &GPIO_InitStruct);

  /*Configure GPIO pins : LED_RED_Pin LED_GREEN_Pin PH1 */
  GPIO_InitStruct.Pin = LED_RED_Pin | LED_GREEN_Pin | GPIO_PIN_1;
  GPIO_InitStruct.Mode = GPIO_MODE_OUTPUT_PP;
  GPIO_InitStruct.Pull = GPIO_NOPULL;
  GPIO_InitStruct.Speed = GPIO_SPEED_FREQ_LOW;
  HAL_GPIO_Init(GPIOH, &GPIO_InitStruct);

  /*Configure GPIO pin : MIC_CCK1_Pin */
  GPIO_InitStruct.Pin = MIC_CCK1_Pin;
  GPIO_InitStruct.Mode = GPIO_MODE_AF_PP;
  GPIO_InitStruct.Pull = GPIO_NOPULL;
  GPIO_InitStruct.Speed = GPIO_SPEED_FREQ_LOW;
  GPIO_InitStruct.Alternate = GPIO_AF6_MDF1;
  HAL_GPIO_Init(MIC_CCK1_GPIO_Port, &GPIO_InitStruct);

  /*Configure GPIO pin : WRLS_WKUP_B_Pin */
  GPIO_InitStruct.Pin = WRLS_WKUP_B_Pin;
  GPIO_InitStruct.Mode = GPIO_MODE_OUTPUT_PP;
  GPIO_InitStruct.Pull = GPIO_NOPULL;
  GPIO_InitStruct.Speed = GPIO_SPEED_FREQ_LOW;
  HAL_GPIO_Init(WRLS_WKUP_B_GPIO_Port, &GPIO_InitStruct);

  /*Configure GPIO pins : WRLS_NOTIFY_Pin Mems_INT_IIS2MDC_Pin USB_IANA_Pin */
  GPIO_InitStruct.Pin = WRLS_NOTIFY_Pin | Mems_INT_IIS2MDC_Pin | USB_IANA_Pin;
  GPIO_InitStruct.Mode = GPIO_MODE_INPUT;
  GPIO_InitStruct.Pull = GPIO_NOPULL;
  HAL_GPIO_Init(GPIOD, &GPIO_InitStruct);

  /*Configure GPIO pins : USB_UCPD_FLT_Pin Mems_ISM330DLC_INT1_Pin */
  GPIO_InitStruct.Pin = USB_UCPD_FLT_Pin | Mems_ISM330DLC_INT1_Pin;
  GPIO_InitStruct.Mode = GPIO_MODE_INPUT;
  GPIO_InitStruct.Pull = GPIO_NOPULL;
  HAL_GPIO_Init(GPIOE, &GPIO_InitStruct);

  /*Configure GPIO pin : USB_VBUS_SENSE_Pin */
  GPIO_InitStruct.Pin = USB_VBUS_SENSE_Pin;
  GPIO_InitStruct.Mode = GPIO_MODE_INPUT;
  GPIO_InitStruct.Pull = GPIO_NOPULL;
  HAL_GPIO_Init(USB_VBUS_SENSE_GPIO_Port, &GPIO_InitStruct);

  /*Configure GPIO pins : Mems_STSAFE_RESET_Pin WRLS_WKUP_W_Pin */
  GPIO_InitStruct.Pin = Mems_STSAFE_RESET_Pin | WRLS_WKUP_W_Pin;
  GPIO_InitStruct.Mode = GPIO_MODE_OUTPUT_PP;
  GPIO_InitStruct.Pull = GPIO_NOPULL;
  GPIO_InitStruct.Speed = GPIO_SPEED_FREQ_LOW;
  HAL_GPIO_Init(GPIOF, &GPIO_InitStruct);

  /*Configure GPIO pin : MIC_SDIN0_Pin */
  GPIO_InitStruct.Pin = MIC_SDIN0_Pin;
  GPIO_InitStruct.Mode = GPIO_MODE_AF_PP;
  GPIO_InitStruct.Pull = GPIO_NOPULL;
  GPIO_InitStruct.Speed = GPIO_SPEED_FREQ_LOW;
  GPIO_InitStruct.Alternate = GPIO_AF6_MDF1;
  HAL_GPIO_Init(MIC_SDIN0_GPIO_Port, &GPIO_InitStruct);

}

void Error_Handler(void) {
  __disable_irq();
  while (1) {
  }
}
#ifdef USE_FULL_ASSERT
/**
 * @brief  Reports the name of the source file and the source line number
 *         where the assert_param error has occurred.
 * @param  file: pointer to the source file name
 * @param  line: assert_param error line source number
 * @retval None
 */
void assert_failed(uint8_t *file, uint32_t line) {
  /* USER CODE BEGIN 6 */
  /* User can add his own implementation to report the file name and line
     number, ex: printf("Wrong parameters value: file %s on line %d\r\n", file,
     line) */
  /* USER CODE END 6 */
}
#endif /* USE_FULL_ASSERT */
